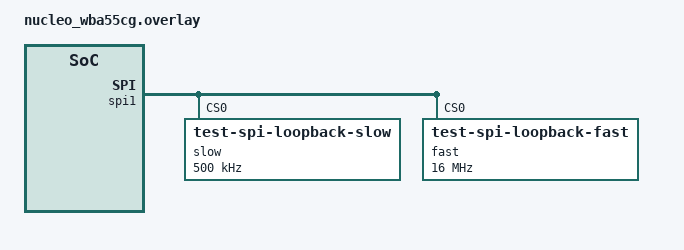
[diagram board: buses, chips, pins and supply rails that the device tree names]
/*
 * Copyright (c) 2025 STMicroelectronics
 *
 * SPDX-License-Identifier: Apache-2.0
 */

&pll1 {
	clocks = <&clk_hse>;
	div-m = <2>;
	mul-n = <12>;
	div-p = <2>;
	div-q = <2>;
	div-r = <2>;
	status = "okay";
};

&rcc {
	clocks = <&pll1>;
	clock-frequency = <DT_FREQ_M(100)>;
	ahb-prescaler = <1>;
	ahb5-prescaler = <4>;
	apb1-prescaler = <1>;
	apb2-prescaler = <1>;
	apb7-prescaler = <1>;
};

&spi1 {
	dmas = <&gpdma1 0 2 STM32_DMA_PERIPH_TX>,
	       <&gpdma1 1 1 STM32_DMA_PERIPH_RX>;
	dma-names = "tx", "rx";
	st,fifo-threshold = <16>;

	slow@0 {
		compatible = "test-spi-loopback-slow";
		reg = <0>;
		spi-max-frequency = <DT_FREQ_K(500)>;
	};

	fast@0 {
		compatible = "test-spi-loopback-fast";
		reg = <0>;
		spi-max-frequency = <DT_FREQ_M(16)>;
	};
};

&gpdma1 {
	status = "okay";
};
